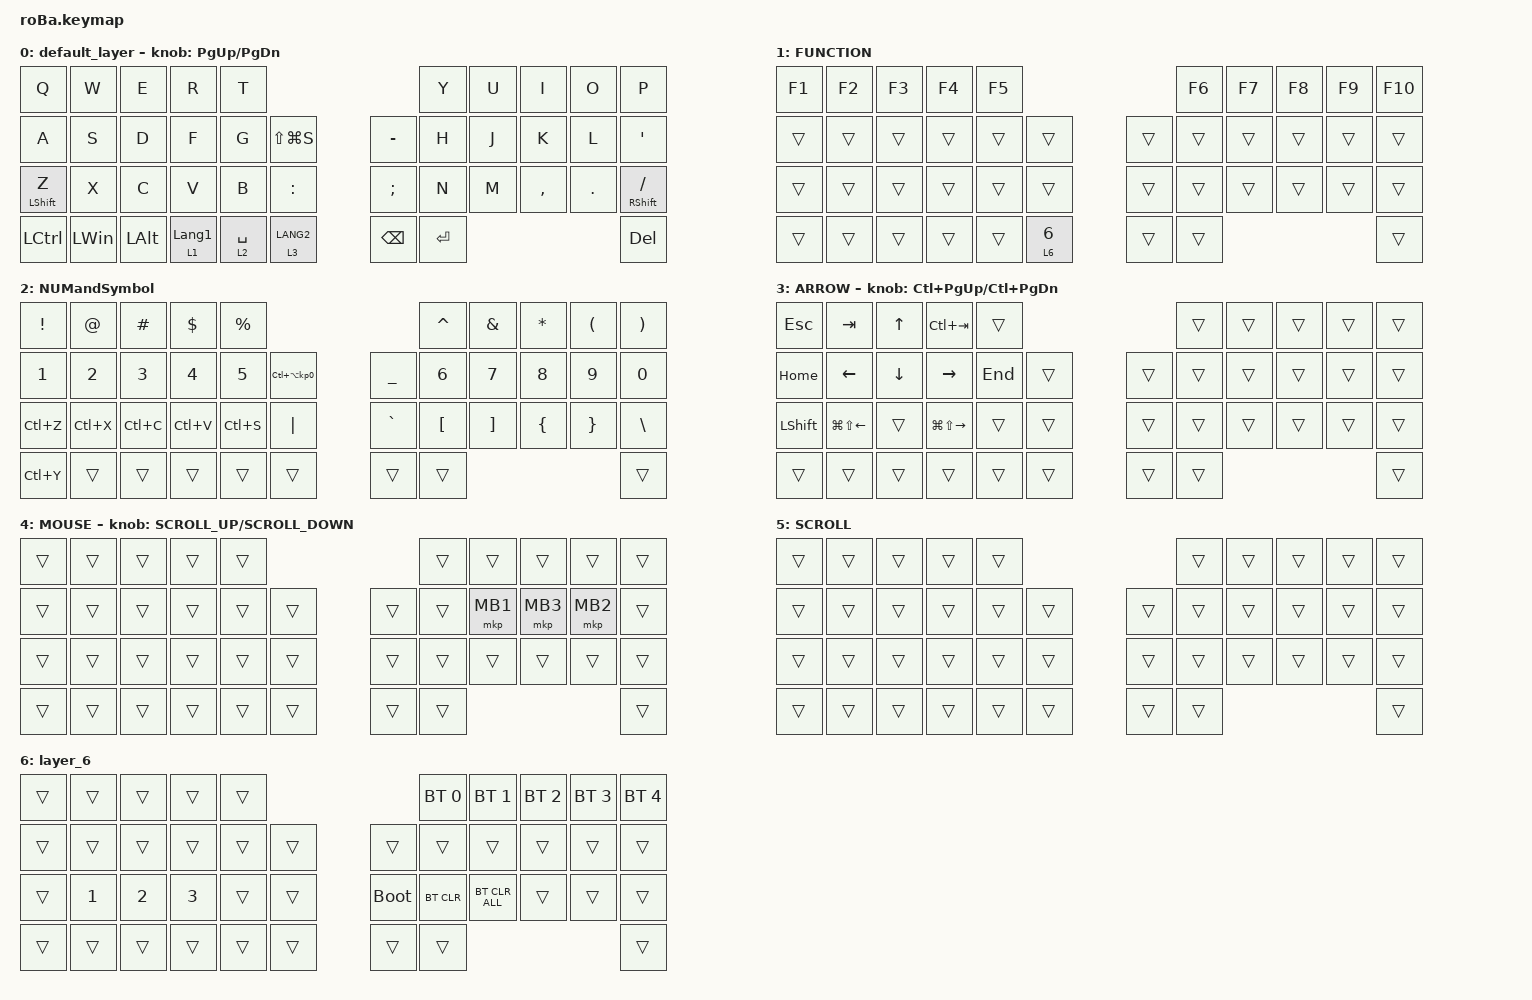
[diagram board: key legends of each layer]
#include <behaviors.dtsi>
#include <dt-bindings/zmk/bt.h>
#include <dt-bindings/zmk/keys.h>
#include <dt-bindings/zmk/pointing.h>

&mt {
    flavor = "balanced";
    quick-tap-ms = <0>;
};

&trackball {
    automouse-layer = <4>;
    scroll-layers = <5>;

    // arrows {
    //     layers = <3>;
    //     bindings =
    //         <&kp RIGHT_ARROW>,
    //         <&kp LEFT_ARROW>,
    //         <&kp UP_ARROW>,
    //         <&kp DOWN_ARROW>;
    //     tick = <10>;
    //     wait-ms = <5>;
    //     tap-ms = <5>;
    // };
};

/ {
    combos {
        compatible = "zmk,combos";

        tab {
            bindings = <&kp TAB>;
            key-positions = <11 12>;
        };

        shift_tab {
            bindings = <&kp LS(TAB)>;
            key-positions = <12 13>;
        };

        muhennkann {
            bindings = <&to_layer_0 INT_MUHENKAN>;
            key-positions = <11 10>;
        };

        double_quotation {
            bindings = <&kp DOUBLE_QUOTES>;
            key-positions = <20 21>;
        };

        eq {
            bindings = <&kp EQUAL>;
            key-positions = <24 25>;
        };
    };

    macros {
        to_layer_0: to_layer_0 {
            compatible = "zmk,behavior-macro-one-param";
            #binding-cells = <1>;
            bindings = <&to 0 &macro_param_1to1 &kp MACRO_PLACEHOLDER>;
            label = "TO_LAYER_0";
        };
    };

    behaviors {
        lt_to_layer_0: lt_to_layer_0 {
            compatible = "zmk,behavior-hold-tap";
            label = "LAYER_TAP_TO_0";
            bindings = <&mo>, <&to_layer_0>;

            #binding-cells = <2>;
            tapping-term-ms = <200>;
        };
    };

    keymap {
        compatible = "zmk,keymap";

        default_layer {
            bindings = <
&kp Q             &kp W         &kp E         &kp R                        &kp T                                                   &kp Y      &kp U  &kp I      &kp O    &kp P
&kp A             &kp S         &kp D         &kp F                        &kp G        &kp LS(LG(S))               &kp MINUS      &kp H      &kp J  &kp K      &kp L    &kp SQT
&mt LEFT_SHIFT Z  &kp X         &kp C         &kp V                        &kp B        &kp COLON                   &kp SEMICOLON  &kp N      &kp M  &kp COMMA  &kp DOT  &mt RIGHT_SHIFT SLASH
&kp LCTRL         &kp LEFT_WIN  &kp LEFT_ALT  &lt_to_layer_0 1 LANGUAGE_1  &lt 2 SPACE  &lt_to_layer_0 3 LANG2      &kp BACKSPACE  &kp ENTER                             &kp DEL
            >;

            sensor-bindings = <&inc_dec_kp PG_UP PAGE_DOWN>;
        };

        FUNCTION {
            bindings = <
&kp F1  &kp F2  &kp F3  &kp F4  &kp F5                              &kp F6  &kp F7  &kp F8  &kp F9  &kp F10
&trans  &trans  &trans  &trans  &trans  &trans              &trans  &trans  &trans  &trans  &trans  &trans
&trans  &trans  &trans  &trans  &trans  &trans              &trans  &trans  &trans  &trans  &trans  &trans
&trans  &trans  &trans  &trans  &trans  &lt 6 NUMBER_6      &trans  &trans                          &trans
            >;
        };

        NUMandSymbol {
            bindings = <
&kp EXCLAMATION  &kp AT_SIGN   &kp HASH      &kp DOLLAR    &kp PERCENT                                               &kp CARET         &kp AMPERSAND      &kp ASTERISK    &kp LEFT_PARENTHESIS  &kp RIGHT_PARENTHESIS
&kp NUMBER_1     &kp NUMBER_2  &kp NUMBER_3  &kp NUMBER_4  &kp N5       &kp LC(LA(KP_NUMBER_0))      &kp UNDERSCORE  &kp NUMBER_6      &kp NUMBER_7       &kp NUMBER_8    &kp NUMBER_9          &kp NUMBER_0
&kp LC(Z)        &kp LC(X)     &kp LC(C)     &kp LC(V)     &kp LC(S)    &kp PIPE                     &kp GRAVE       &kp LEFT_BRACKET  &kp RIGHT_BRACKET  &kp LEFT_BRACE  &kp RIGHT_BRACE       &kp BACKSLASH
&kp LC(Y)        &trans        &trans        &trans        &trans       &trans                       &trans          &trans                                                                     &trans
            >;
        };

        ARROW {
            bindings = <
&kp ESCAPE      &kp TAB                 &kp UP_ARROW    &kp LC(TAB)              &trans                       &trans  &trans  &trans  &trans  &trans
&kp HOME        &kp LEFT_ARROW          &kp DOWN_ARROW  &kp RIGHT_ARROW          &kp END  &trans      &trans  &trans  &trans  &trans  &trans  &trans
&kp LEFT_SHIFT  &kp LG(LS(LEFT_ARROW))  &trans          &kp LG(LS(RIGHT_ARROW))  &trans   &trans      &trans  &trans  &trans  &trans  &trans  &trans
&trans          &trans                  &trans          &trans                   &trans   &trans      &trans  &trans                          &trans
            >;

            sensor-bindings = <&inc_dec_kp LC(PAGE_UP) LC(PAGE_DOWN)>;
        };

        MOUSE {
            bindings = <
&trans  &trans  &trans  &trans  &trans                      &trans  &trans    &trans    &trans    &trans
&trans  &trans  &trans  &trans  &trans  &trans      &trans  &trans  &mkp MB1  &mkp MB3  &mkp MB2  &trans
&trans  &trans  &trans  &trans  &trans  &trans      &trans  &trans  &trans    &trans    &trans    &trans
&trans  &trans  &trans  &trans  &trans  &trans      &trans  &trans                                &trans
            >;

            sensor-bindings = <&inc_dec_kp K_SCROLL_UP K_SCROLL_DOWN>;
        };

        SCROLL {
            bindings = <
&trans  &trans  &trans  &trans  &trans                      &trans  &trans  &trans  &trans  &trans
&trans  &trans  &trans  &trans  &trans  &trans      &trans  &trans  &trans  &trans  &trans  &trans
&trans  &trans  &trans  &trans  &trans  &trans      &trans  &trans  &trans  &trans  &trans  &trans
&trans  &trans  &trans  &trans  &trans  &trans      &trans  &trans                          &trans
            >;
        };

        layer_6 {
            bindings = <
&trans  &trans        &trans        &trans        &trans                           &bt BT_SEL 0  &bt BT_SEL 1    &bt BT_SEL 2  &bt BT_SEL 3  &bt BT_SEL 4
&trans  &trans        &trans        &trans        &trans  &trans      &trans       &trans        &trans          &trans        &trans        &trans
&trans  &kp NUMBER_1  &kp NUMBER_2  &kp NUMBER_3  &trans  &trans      &bootloader  &bt BT_CLR    &bt BT_CLR_ALL  &trans        &trans        &trans
&trans  &trans        &trans        &trans        &trans  &trans      &trans       &trans                                                    &trans
            >;
        };
    };
};
